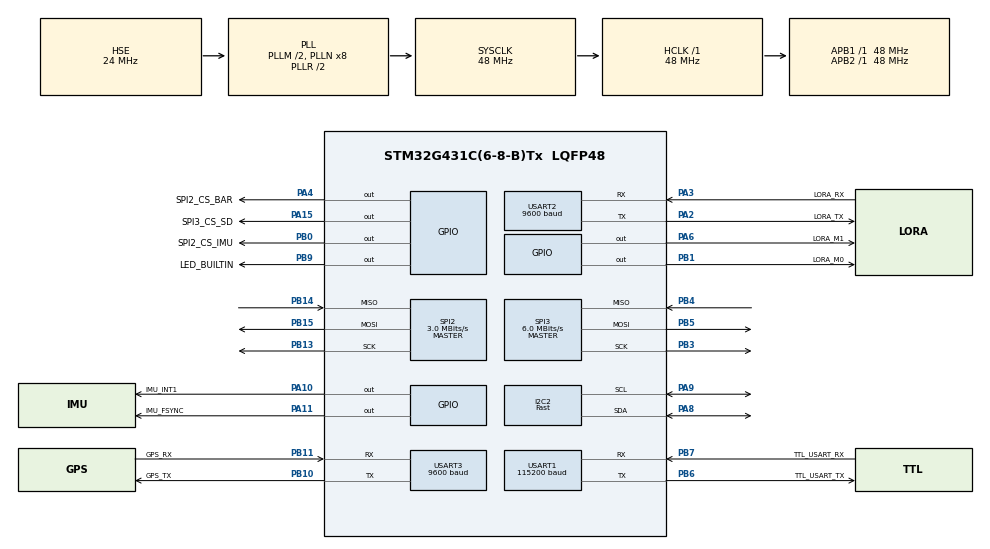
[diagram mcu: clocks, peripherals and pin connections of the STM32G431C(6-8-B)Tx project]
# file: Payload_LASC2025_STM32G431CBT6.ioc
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Dma.Request0=USART2_TX
Dma.Request1=USART2_RX
Dma.Request2=USART3_RX
Dma.USART2_RX.1.Direction=DMA_PERIPH_TO_MEMORY
Dma.USART2_RX.1.EventEnable=DISABLE
Dma.USART2_RX.1.Instance=DMA1_Channel6
Dma.USART2_RX.1.MemDataAlignment=DMA_MDATAALIGN_BYTE
Dma.USART2_RX.1.MemInc=DMA_MINC_ENABLE
Dma.USART2_RX.1.Mode=DMA_CIRCULAR
Dma.USART2_RX.1.PeriphDataAlignment=DMA_PDATAALIGN_BYTE
Dma.USART2_RX.1.PeriphInc=DMA_PINC_DISABLE
Dma.USART2_RX.1.Polarity=HAL_DMAMUX_REQ_GEN_RISING
Dma.USART2_RX.1.Priority=DMA_PRIORITY_MEDIUM
Dma.USART2_RX.1.RequestNumber=1
Dma.USART2_RX.1.SignalID=NONE
Dma.USART2_RX.1.SyncEnable=DISABLE
Dma.USART2_RX.1.SyncPolarity=HAL_DMAMUX_SYNC_NO_EVENT
Dma.USART2_RX.1.SyncRequestNumber=1
Dma.USART2_RX.1.SyncSignalID=NONE
Dma.USART2_TX.0.Direction=DMA_MEMORY_TO_PERIPH
Dma.USART2_TX.0.EventEnable=DISABLE
Dma.USART2_TX.0.Instance=DMA1_Channel5
Dma.USART2_TX.0.MemDataAlignment=DMA_MDATAALIGN_BYTE
Dma.USART2_TX.0.MemInc=DMA_MINC_ENABLE
Dma.USART2_TX.0.Mode=DMA_NORMAL
Dma.USART2_TX.0.PeriphDataAlignment=DMA_PDATAALIGN_BYTE
Dma.USART2_TX.0.PeriphInc=DMA_PINC_DISABLE
Dma.USART2_TX.0.Polarity=HAL_DMAMUX_REQ_GEN_RISING
Dma.USART2_TX.0.Priority=DMA_PRIORITY_HIGH
Dma.USART2_TX.0.RequestNumber=1
Dma.USART2_TX.0.SignalID=NONE
Dma.USART2_TX.0.SyncEnable=DISABLE
Dma.USART2_TX.0.SyncPolarity=HAL_DMAMUX_SYNC_NO_EVENT
Dma.USART2_TX.0.SyncRequestNumber=1
Dma.USART2_TX.0.SyncSignalID=NONE
Dma.USART3_RX.2.Direction=DMA_PERIPH_TO_MEMORY
Dma.USART3_RX.2.EventEnable=DISABLE
Dma.USART3_RX.2.Instance=DMA1_Channel1
Dma.USART3_RX.2.MemDataAlignment=DMA_MDATAALIGN_BYTE
Dma.USART3_RX.2.MemInc=DMA_MINC_ENABLE
Dma.USART3_RX.2.Mode=DMA_CIRCULAR
Dma.USART3_RX.2.PeriphDataAlignment=DMA_PDATAALIGN_BYTE
Dma.USART3_RX.2.PeriphInc=DMA_PINC_DISABLE
Dma.USART3_RX.2.Polarity=HAL_DMAMUX_REQ_GEN_RISING
Dma.USART3_RX.2.Priority=DMA_PRIORITY_HIGH
Dma.USART3_RX.2.RequestNumber=1
Dma.USART3_RX.2.SignalID=NONE
Dma.USART3_RX.2.SyncEnable=DISABLE
Dma.USART3_RX.2.SyncPolarity=HAL_DMAMUX_SYNC_NO_EVENT
Dma.USART3_RX.2.SyncRequestNumber=1
Dma.USART3_RX.2.SyncSignalID=NONE
FATFS._MAX_SS=4096
FATFS._USE_LFN=1
I2C2.I2C_Speed_Mode=I2C_Fast
I2C2.Timing=0x0090194B
Mcu.Family=STM32G4
Mcu.Name=STM32G431C(6-8-B)Tx
Mcu.Package=LQFP48
NVIC.DMA1_Channel1_IRQn=true\:0\:0\:false\:false\:true\:false\:true\:true
NVIC.DMA1_Channel5_IRQn=true\:0\:0\:false\:false\:true\:false\:true\:true
NVIC.DMA1_Channel6_IRQn=true\:0\:0\:false\:false\:true\:false\:true\:true
NVIC.PriorityGroup=NVIC_PRIORITYGROUP_4
NVIC.USART2_IRQn=true\:0\:0\:false\:false\:true\:true\:true\:true
NVIC.USART3_IRQn=true\:0\:0\:true\:false\:true\:true\:true\:true
PA10.GPIO_Label=IMU_INT1
PA10.Signal=GPIO_Output
PA11.GPIO_Label=IMU_FSYNC
PA11.Signal=GPIO_Output
PA13.Mode=Serial_Wire
PA13.Signal=SYS_JTMS-SWDIO
PA14.Mode=Serial_Wire
PA14.Signal=SYS_JTCK-SWCLK
PA15.GPIO_Label=SPI3_CS_SD
PA15.Signal=GPIO_Output
PA2.GPIO_Label=LORA_TX
PA2.Mode=Asynchronous
PA2.Signal=USART2_TX
PA3.GPIO_Label=LORA_RX
PA3.Mode=Asynchronous
PA3.Signal=USART2_RX
PA4.GPIO_Label=SPI2_CS_BAR
PA4.Signal=GPIO_Output
PA6.GPIO_Label=LORA_M1
PA6.Signal=GPIO_Output
PA8.Mode=I2C
PA8.Signal=I2C2_SDA
PA9.Mode=I2C
PA9.Signal=I2C2_SCL
PB0.GPIO_Label=SPI2_CS_IMU
PB0.Signal=GPIO_Output
PB1.GPIO_Label=LORA_M0
PB1.Signal=GPIO_Output
PB10.GPIO_Label=GPS_TX
PB10.GPIO_ModeDefaultPP=GPIO_MODE_AF_PP
PB10.GPIO_PuPd=GPIO_NOPULL
PB10.GPIO_Speed=GPIO_SPEED_FREQ_LOW
PB10.Mode=Asynchronous
PB10.Signal=USART3_TX
PB11.GPIO_Label=GPS_RX
PB11.GPIO_ModeDefaultPP=GPIO_MODE_AF_PP
PB11.GPIO_PuPd=GPIO_NOPULL
PB11.GPIO_Speed=GPIO_SPEED_FREQ_LOW
PB11.Mode=Asynchronous
PB11.Signal=USART3_RX
PB13.Mode=Full_Duplex_Master
PB13.Signal=SPI2_SCK
PB14.Mode=Full_Duplex_Master
PB14.Signal=SPI2_MISO
PB15.Mode=Full_Duplex_Master
PB15.Signal=SPI2_MOSI
PB3.Mode=Full_Duplex_Master
PB3.Signal=SPI3_SCK
PB4.Mode=Full_Duplex_Master
PB4.Signal=SPI3_MISO
PB5.Mode=Full_Duplex_Master
PB5.Signal=SPI3_MOSI
PB6.GPIO_Label=TTL_USART_TX
PB6.Mode=Asynchronous
PB6.Signal=USART1_TX
PB7.GPIO_Label=TTL_USART_RX
PB7.Mode=Asynchronous
PB7.Signal=USART1_RX
PB8-BOOT0.GPIO_Label=BOOT0
PB8-BOOT0.Signal=EVENTOUT
PB9.GPIO_Label=LED_BUILTIN
PB9.Signal=GPIO_Output
PF0-OSC_IN.Mode=HSE-External-Oscillator
PF0-OSC_IN.Signal=RCC_OSC_IN
PF1-OSC_OUT.Mode=HSE-External-Oscillator
PF1-OSC_OUT.Signal=RCC_OSC_OUT
PG10-NRST.GPIO_Label=NRST
PG10-NRST.Signal=EVENTOUT
ProjectManager.HeapSize=0x800
ProjectManager.StackSize=0x800
ProjectManager.TargetToolchain=STM32CubeIDE
RCC.ADC12Freq_Value=48000000
RCC.AHBFreq_Value=48000000
RCC.APB1Freq_Value=48000000
RCC.APB1TimFreq_Value=48000000
RCC.APB2Freq_Value=48000000
RCC.APB2TimFreq_Value=48000000
RCC.CortexFreq_Value=48000000
RCC.EXTERNAL_CLOCK_VALUE=12288000
RCC.HCLKFreq_Value=48000000
RCC.HSE_VALUE=24000000
RCC.HSI48_VALUE=48000000
RCC.HSI_VALUE=16000000
RCC.LSE_VALUE=32768
RCC.PLLM=RCC_PLLM_DIV2
RCC.PLLSourceVirtual=RCC_PLLSOURCE_HSE
RCC.SYSCLKFreq_VALUE=48000000
RCC.SYSCLKSource=RCC_SYSCLKSOURCE_PLLCLK
RCC.USBFreq_Value=48000000
RCC.VCOOutputFreq_Value=96000000
SPI2.BaudRatePrescaler=SPI_BAUDRATEPRESCALER_16
SPI2.CLKPhase=SPI_PHASE_2EDGE
SPI2.CLKPolarity=SPI_POLARITY_HIGH
SPI2.CalculateBaudRate=3.0 MBits/s
SPI2.DataSize=SPI_DATASIZE_8BIT
SPI2.Direction=SPI_DIRECTION_2LINES
SPI2.Mode=SPI_MODE_MASTER
SPI2.VirtualType=VM_MASTER
SPI3.BaudRatePrescaler=SPI_BAUDRATEPRESCALER_8
SPI3.CalculateBaudRate=6.0 MBits/s
SPI3.DataSize=SPI_DATASIZE_8BIT
SPI3.Direction=SPI_DIRECTION_2LINES
SPI3.Mode=SPI_MODE_MASTER
SPI3.NSSPMode=SPI_NSS_PULSE_DISABLE
SPI3.VirtualType=VM_MASTER
USART1.BaudRate=115200
USART1.VirtualMode-Asynchronous=VM_ASYNC
USART2.BaudRate=9600
USART2.ClockPrescaler=PRESCALER_DIV1
USART2.FIFOMode=FIFOMODE_ENABLE
USART2.OverSampling=UART_OVERSAMPLING_16
USART2.VirtualMode-Asynchronous=VM_ASYNC
USART3.BaudRate=9600
USART3.FIFOMode=FIFOMODE_ENABLE
USART3.OverSampling=UART_OVERSAMPLING_16
USART3.VirtualMode-Asynchronous=VM_ASYNC
VP_FATFS_VS_Generic.Mode=User_defined
VP_SYS_VS_DBSignals.Mode=DisableDeadBatterySignals
board=custom

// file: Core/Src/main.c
/* USER CODE BEGIN Header */
/**
  ******************************************************************************
  * @file           : main.c
  * @brief          : STM32G4 LoRa Transmitter - Corrigido DMA RX
  ******************************************************************************
  */
/* USER CODE END Header */
#include "main.h"
#include "app_fatfs.h"

/* USER CODE BEGIN Includes */
#include "IMU.h"
#include "SD.h"
#include "GNSS.h"
#include "BAR.h"
#include "IMU.h"
#include "e22900t22d.h"
#include "LORA.h"

#include "ROCKET.h"
#include "ROCKET_FSM.h"

/* USER CODE END Includes */

/* USER CODE BEGIN PD */

// Buffers para recepção com IDLE detection

// Contador de transmissões
int transmissionCounter = 0;

/* USER CODE END PD */

I2C_HandleTypeDef hi2c2;

SPI_HandleTypeDef hspi2;
SPI_HandleTypeDef hspi3;

UART_HandleTypeDef huart1;
UART_HandleTypeDef huart2;
UART_HandleTypeDef huart3;
DMA_HandleTypeDef hdma_usart2_tx;
DMA_HandleTypeDef hdma_usart2_rx;
DMA_HandleTypeDef hdma_usart3_rx;

/* USER CODE BEGIN PV */

GNSS gnss;
SD sd;
LORA lora;
BAR bar;
IMU imu;
IMU_Fusion fusion;
ROCKET_System_t rocket;
ROCKET_FSM_t fsm;

/* USER CODE END PV */

void SystemClock_Config(void);
static void MX_GPIO_Init(void);
static void MX_DMA_Init(void);
static void MX_I2C2_Init(void);
static void MX_SPI2_Init(void);
static void MX_SPI3_Init(void);
static void MX_USART1_UART_Init(void);
static void MX_USART3_UART_Init(void);
static void MX_USART2_UART_Init(void);

/* USER CODE BEGIN 0 */
#ifdef __GNUC__
#define PUTCHAR_PROTOTYPE int __io_putchar(int ch)
#else
#define PUTCHAR_PROTOTYPE int fputc(int ch, FILE *f)
#endif

PUTCHAR_PROTOTYPE
{
  HAL_UART_Transmit(&huart1, (uint8_t *)&ch, 1, 0xFFFF);
  return ch;
}

int _write(int fd, char * ptr, int len)
{
	int DataIdx;
	for (DataIdx = 0; DataIdx < len; DataIdx++)
	{
		__io_putchar(*ptr++);
	}
	return len;
}

/* ========================================================================
 * SEQUÊNCIA PRÉ-VOO
 * ======================================================================== */

void TEST_SDWriteSpeed_Detailed(void) {
    printf("\r\n=== TESTE DETALHADO DE VELOCIDADE ===\r\n");

    if (SD_OpenFile(&sd, "speed.txt", SD_MODE_OVERWRITE) != HAL_OK) {
        printf("[ERRO] Falha ao abrir arquivo\r\n");
        return;
    }

    // Teste 1: Write sem sync
    uint32_t start = HAL_GetTick();
    for (int i = 0; i < 100; i++) {
        char line[256];
        snprintf(line, sizeof(line), "%d,test,data,line,with,many,fields\r\n", i);
        f_puts(line, &sd.file);  // Sem sync
    }
    uint32_t write_time = HAL_GetTick() - start;

    // Teste 2: Sync
    start = HAL_GetTick();
    f_sync(&sd.file);
    uint32_t sync_time = HAL_GetTick() - start;

    SD_CloseFile(&sd);

    printf("Resultados:\r\n");
    printf("- 100 writes: %lu ms (%.1f ms/linha)\r\n", write_time, write_time/100.0f);
    printf("- 1 sync: %lu ms\r\n", sync_time);
    printf("- Total: %lu ms\r\n", write_time + sync_time);

    if (write_time / 100.0f > 5.0f) {
        printf("\r\n[CRÍTICO] SD MUITO LENTO!\r\n");
        printf("Soluções:\r\n");
        printf("1. Reformate o SD (FAT32, cluster 4KB)\r\n");
        printf("2. Use SD Classe 10 ou superior\r\n");
        printf("3. Aumente FLIGHT_BUFFER_SIZE para 100+\r\n");
    }
}

void ROCKET_EmergencyMode()
{
    printf("\r\n[EMERGÊNCIA] Sistema em modo seguro\r\n");

    while(1) {
        // Pisca LED de erro
        HAL_GPIO_TogglePin(LED_BUILTIN_GPIO_Port, LED_BUILTIN_Pin);

        // Tenta transmitir status de erro
        printf("ERROR: System failure");

        HAL_Delay(500);
    }
}

void ROCKET_PreFlightSequence(void)
{
    printf("\r\n");
    printf("╔════════════════════════════════════════════╗\r\n");
    printf("║    SISTEMA DE TELEMETRIA SRAD v2.0         ║\r\n");
    printf("║    Foguete: 500m Apogeu                    ║\r\n");
    printf("╚════════════════════════════════════════════╝\r\n");
    printf("\r\n");

    // 1. Verifica periféricos críticos
    printf("[1/6] Verificando periféricos...\r\n");
    if (!rocket.status.lora_initialized) {
        printf("[ERRO] LoRa não inicializado!\r\n");
        ROCKET_EmergencyMode();
    }
    if (!rocket.status.imu_initialized) {
        printf("[ERRO] IMU não inicializado!\r\n");
        ROCKET_EmergencyMode();
    }
    printf("[OK] Periféricos OK\r\n");

    // 2. Aguarda GPS fix
    printf("[2/6] Aguardando GPS fix...\r\n");
    uint32_t gps_timeout = HAL_GetTick() + 10000; // 1 minuto
    while (!rocket.gnss->is_fixed && HAL_GetTick() < gps_timeout) {
        ROCKET_Manager(&rocket);
        HAL_Delay(100);

        if ((HAL_GetTick() % 5000) == 0) {
            printf("    Satélites: %d, Status: %c\r\n",
                   rocket.gnss->satelites_usados, rocket.gnss->status);
        }
    }

    if (!rocket.gnss->is_fixed) {
        printf("[AVISO] GPS sem fix - continuando sem GPS\r\n");
    } else {
        printf("[OK] GPS Fix obtido!\r\n");
    }

    // 3. Calibração automática
    printf("[3/6] Calibrando sensores na rampa...\r\n");
    printf("    MANTENHA O FOGUETE IMÓVEL!\r\n");

    for (int i = 5; i > 0; i--) {
        printf("    %d...\r\n", i);
        HAL_Delay(1000);
    }

    ROCKET_CalibrateIMU(&rocket, 200);

    // Calibra barômetro
    float baro_sum = 0;
    for (int i = 0; i < 50; i++) {
        BAR_Update(&bar);
        baro_sum += bar.altitude_m;
        HAL_Delay(20);
    }
    bar.altitude_inicial = baro_sum / 50.0f;
    bar.has_initial_alt = 1;

    printf("[OK] Calibração concluída\r\n");
    printf("    Altitude Base: %.1f m\r\n", bar.altitude_inicial);

    // 4. Inicializa EKF com estado zero
    printf("[4/6] Inicializando EKF...\r\n");
    rocket.ekf.x[0] = 0;
    rocket.ekf.x[1] = 0;
    rocket.ekf.x[2] = 0;
    for(int i = 0; i < 3; i++) {
        rocket.ekf.P[i][i] = 100.0f;
        rocket.ekf.P[i+3][i+3] = 10.0f;
    }
    rocket.status.ekf_initialized = 1;
    printf("[OK] EKF pronto\r\n");

    // 5. Configura FSM para perfil de voo
    printf("[5/6] Configurando perfil de voo...\r\n");
    ROCKET_FSM_ConfigureForProfile(&fsm, 1.54f, 500.0f, 10.0f);
    printf("[OK] Perfil carregado\r\n");

    // 6. Cria arquivo de log
    printf("[6/6] Criando arquivo de log...\r\n");
    if (ROCKET_Logger_CreateFile(&rocket, "flight_log.csv") == HAL_OK) {
        printf("[OK] Arquivo de log criado\r\n");
    } else {
        printf("[AVISO] Falha ao criar arquivo - continuando sem gravação\r\n");
    }

    printf("\r\n");
    printf("╔════════════════════════════════════════════╗\r\n");
    printf("║           SISTEMA PRONTO PARA VOO          ║\r\n");
    printf("║                                            ║\r\n");
    printf("║   			BON VOYANGE :D    		   	 ║\r\n");
    printf("╚════════════════════════════════════════════╝\r\n");
    printf("\r\n");
}
/* USER CODE END 0 */

int main(void)
{

  /* MCU Configuration--------------------------------------------------------*/

  /* Reset of all peripherals, Initializes the Flash interface and the Systick. */
  HAL_Init();

  /* USER CODE BEGIN Init */
  // Antes de MX_USART2_UART_Init()
  __HAL_RCC_DMA1_CLK_ENABLE();
  __HAL_RCC_DMAMUX1_CLK_ENABLE();

  /* USER CODE END Init */

  /* Configure the system clock */
  SystemClock_Config();

  /* Initialize all configured peripherals */
  MX_GPIO_Init();
  MX_DMA_Init();
  MX_I2C2_Init();
  MX_SPI2_Init();
  MX_SPI3_Init();
  MX_USART1_UART_Init();
  MX_USART3_UART_Init();
  if (MX_FATFS_Init() != APP_OK) {
    Error_Handler();
  }
  MX_USART2_UART_Init();
  /* USER CODE BEGIN 2 */
  HAL_GPIO_WritePin(SPI2_CS_BAR_GPIO_Port, SPI2_CS_BAR_Pin, SET);

  // Inicializa subsistemas
  ROCKET_Init(&rocket, &gnss, &sd, &lora, &bar, &imu, &fusion, &fsm);
  ROCKET_FSM_Init(&fsm);

  if (ROCKET_BeginPeripherals(&rocket,
                              &huart2, &huart3, &hi2c2, &hspi2,
                              LORA_M0_GPIO_Port, LORA_M0_Pin,
                              LORA_M1_GPIO_Port, LORA_M1_Pin,
                              SPI2_CS_IMU_GPIO_Port, SPI2_CS_IMU_Pin) != HAL_OK) {
      Error_Handler();
  }

  // Configura LoRa
  LORA_SetAddress(&lora, LORA_ADDRESS_STM32G4, LORA_ADDRESS_ESP32);
  LORA_SetChannel(&lora, LORA_CHANNEL);

  // Habilita interrupção IDLE do GNSS
  __HAL_UART_ENABLE_IT(&huart3, UART_IT_IDLE);

//  // Cria arquivos de log
//  ROCKET_CreateLogFile(&rocket, "telemetry.csv");
//  ROCKET_CreateLogFile(&rocket, "flight_buffer.csv");

//  // Coordenadas do local atual
//  double last_lat = -18.9186;
//  double last_lon = -48.2772;
//  float last_alt = 850.0;
//
//  // Data/hora atual (ajuste conforme RTC ou manualmente)
//  uint16_t last_year = 2025;
//  uint8_t last_month = 10;
//  uint8_t last_day = 22;
//  uint8_t last_hour = 11;  // UTC (Brasília é UTC-3)
//  uint8_t last_min = 25;
//  uint8_t last_sec = 0;
//
//  printf("\r\n[INFO] Injetando dados de auxilio no GPS...\r\n");
//  if (ROCKET_InjectGPSAidData(&rocket, last_lat, last_lon, last_alt,
//                              last_year, last_month, last_day,
//                              last_hour, last_min, last_sec) == HAL_OK) {
//      printf("[OK] GPS configurado para Hot Start\r\n");
//      printf("[INFO] Aguardando fix GPS (esperado: 1-5s)...\r\n");
//  } else {
//      printf("[AVISO] Falha ao injetar dados - GPS usara Cold Start\r\n");
//  }

  // SEQUÊNCIA PRÉ-VOO
  ROCKET_PreFlightSequence();

  ROCKET_FSM_SetState(&fsm, FLIGHT_ARMED);
  printf("[ARMED] Sistema armado - aguardando liftoff\r\n");

/*
   // Calibração do magnetômetro
   printf("\r\n=== CALIBRACAO DO MAGNETOMETRO ===\r\n");
   for(int c = 20; c !=0; c--){
	   ROCKET_Manager(&rocket);
   }

   if (ROCKET_CollectMagCalibrationData(&rocket, 120000) == HAL_OK) { // 2 minutos
       printf("[OK] Dados coletados!\r\n");
       printf("Remova o SD e execute MagCalibration.m no MATLAB\r\n");
       while(1); // Para para remover SD
   }

   //Após calibrado, altere os valores em ROCKET.c -> ROCKET_BeginPeripherals()
*/

  /* USER CODE END 2 */

  /* Infinite loop */
  /* USER CODE BEGIN WHILE */
  uint32_t last_print = 0;
  uint32_t last_stats = 0;

  //TEST_SDWriteSpeed_Detailed();

  while (1)
  {
	  ROCKET_SetTransmissionInterval(&rocket, 500);

      // MANAGER PRINCIPAL
      ROCKET_Manager(&rocket);

      // ATUALIZA MÁQUINA DE ESTADOS
      ROCKET_FSM_Update(&fsm, &rocket);

      // AÇÕES ESPECÍFICAS POR ESTADO
      switch(fsm.current_state) {

          case FLIGHT_ARMED:
              // Apenas aguarda detecção de liftoff
              break;

          case FLIGHT_BOOST:
          case FLIGHT_COAST:
               // VOO CRÍTICO - dados sendo gravados automaticamente no Manager
               // Flush forçado a cada 100ms (definido no Manager)

          case FLIGHT_APOGEE:
              // ACIONA PARAQUEDAS AQUI!
              printf("[DEPLOY] *** EJETANDO PARAQUEDAS ***\r\n");

              // Flush imediato antes de acionar paraquedas
              ROCKET_Logger_ForceFlush(&rocket);
              // TODO: Adicionar código do skib
              break;

          case FLIGHT_DROGUE_DESCENT:
        	  break;

          case FLIGHT_MAIN_DESCENT:
        	  // Monitora descida - dados continuam sendo gravados
              break;

          case FLIGHT_LANDED:
              // Flush final e fecha arquivo
              static uint8_t landing_processed = 0;
              if (!landing_processed) {
                  printf("[LANDED] Processando dados finais...\r\n");

                  ROCKET_Logger_ForceFlush(&rocket);
                  ROCKET_FSM_SaveFlightSummary(&fsm, &sd);

                  // Mantém arquivo aberto para continuar gravando telemetria com taxa reduzida

                  landing_processed = 1;
              }
              break;

          default:
              break;
      }

      // STATUS PERIÓDICO
      if ((HAL_GetTick() - last_print) >= 2000) {
          printf("\r\n[%s] T+%.2fs | Alt: %.1f/%.1f m | Vel: %.1f m/s | G: %.2fg\r\n",
                 ROCKET_FSM_GetStateName(fsm.current_state),
                 ROCKET_FSM_GetStateTime(&fsm),
                 rocket.bar->altitude_m,
                 fsm.stats.max_altitude,
                 -rocket.state.vel[2],
                 fsm.stats.max_gforce);

          	  	 //*************************printf(gnss.rx_buffer);

          // Estatísticas em voo
          if (ROCKET_FSM_IsFlying(&fsm)) {
              printf("    GPS: %s (%d sats) | IMU: %s | EKF: %s\r\n",
                     rocket.gnss->is_fixed ? "OK" : "NO",
                     rocket.gnss->satelites_usados,
                     rocket.imu->is_valid ? "OK" : "NO",
                     rocket.status.ekf_initialized ? "OK" : "NO");

              // Buffer status
              printf("    Buffer: %d/%d | Gravadas: %lu | Perdidas: %lu\r\n",
                     rocket.logger.buffer.count,
                     FLIGHT_BUFFER_SIZE,
                     rocket.logger.samples_written,
                     rocket.logger.buffer.lost_samples);
          }

          // Status da transmissão
          if(rocket.lora->tx_in_progress) {
              printf("    [TX] Transmissão em andamento...\r\n");
          }

          ROCKET_PrintState(&rocket);

          last_print = HAL_GetTick();
      }

      // Estatísticas detalhadas a cada 10 segundos
      if ((HAL_GetTick() - last_stats) >= 10000) {
          if (ROCKET_FSM_IsFlying(&fsm)) {
              ROCKET_Logger_PrintStats(&rocket);
          }
          last_stats = HAL_GetTick();
      }

    /* USER CODE END WHILE */

  }
}

void SystemClock_Config(void)
{
  RCC_OscInitTypeDef RCC_OscInitStruct = {0};
  RCC_ClkInitTypeDef RCC_ClkInitStruct = {0};

  /** Configure the main internal regulator output voltage
  */
  HAL_PWREx_ControlVoltageScaling(PWR_REGULATOR_VOLTAGE_SCALE1);

  /** Initializes the RCC Oscillators according to the specified parameters
  * in the RCC_OscInitTypeDef structure.
  */
  RCC_OscInitStruct.OscillatorType = RCC_OSCILLATORTYPE_HSE;
  RCC_OscInitStruct.HSEState = RCC_HSE_ON;
  RCC_OscInitStruct.PLL.PLLState = RCC_PLL_ON;
  RCC_OscInitStruct.PLL.PLLSource = RCC_PLLSOURCE_HSE;
  RCC_OscInitStruct.PLL.PLLM = RCC_PLLM_DIV2;
  RCC_OscInitStruct.PLL.PLLN = 8;
  RCC_OscInitStruct.PLL.PLLP = RCC_PLLP_DIV2;
  RCC_OscInitStruct.PLL.PLLQ = RCC_PLLQ_DIV2;
  RCC_OscInitStruct.PLL.PLLR = RCC_PLLR_DIV2;
  if (HAL_RCC_OscConfig(&RCC_OscInitStruct) != HAL_OK)
  {
    Error_Handler();
  }

  /** Initializes the CPU, AHB and APB buses clocks
  */
  RCC_ClkInitStruct.ClockType = RCC_CLOCKTYPE_HCLK|RCC_CLOCKTYPE_SYSCLK
                              |RCC_CLOCKTYPE_PCLK1|RCC_CLOCKTYPE_PCLK2;
  RCC_ClkInitStruct.SYSCLKSource = RCC_SYSCLKSOURCE_PLLCLK;
  RCC_ClkInitStruct.AHBCLKDivider = RCC_SYSCLK_DIV1;
  RCC_ClkInitStruct.APB1CLKDivider = RCC_HCLK_DIV1;
  RCC_ClkInitStruct.APB2CLKDivider = RCC_HCLK_DIV1;

  if (HAL_RCC_ClockConfig(&RCC_ClkInitStruct, FLASH_LATENCY_1) != HAL_OK)
  {
    Error_Handler();
  }
}

static void MX_I2C2_Init(void)
{

  hi2c2.Instance = I2C2;
  hi2c2.Init.Timing = 0x0090194B;
  hi2c2.Init.OwnAddress1 = 0;
  hi2c2.Init.AddressingMode = I2C_ADDRESSINGMODE_7BIT;
  hi2c2.Init.DualAddressMode = I2C_DUALADDRESS_DISABLE;
  hi2c2.Init.OwnAddress2 = 0;
  hi2c2.Init.OwnAddress2Masks = I2C_OA2_NOMASK;
  hi2c2.Init.GeneralCallMode = I2C_GENERALCALL_DISABLE;
  hi2c2.Init.NoStretchMode = I2C_NOSTRETCH_DISABLE;
  if (HAL_I2C_Init(&hi2c2) != HAL_OK)
  {
    Error_Handler();
  }

  /** Configure Analogue filter
  */
  if (HAL_I2CEx_ConfigAnalogFilter(&hi2c2, I2C_ANALOGFILTER_ENABLE) != HAL_OK)
  {
    Error_Handler();
  }

  /** Configure Digital filter
  */
  if (HAL_I2CEx_ConfigDigitalFilter(&hi2c2, 0) != HAL_OK)
  {
    Error_Handler();
  }

}

static void MX_SPI2_Init(void)
{

  /* SPI2 parameter configuration*/
  hspi2.Instance = SPI2;
  hspi2.Init.Mode = SPI_MODE_MASTER;
  hspi2.Init.Direction = SPI_DIRECTION_2LINES;
  hspi2.Init.DataSize = SPI_DATASIZE_8BIT;
  hspi2.Init.CLKPolarity = SPI_POLARITY_HIGH;
  hspi2.Init.CLKPhase = SPI_PHASE_2EDGE;
  hspi2.Init.NSS = SPI_NSS_SOFT;
  hspi2.Init.BaudRatePrescaler = SPI_BAUDRATEPRESCALER_16;
  hspi2.Init.FirstBit = SPI_FIRSTBIT_MSB;
  hspi2.Init.TIMode = SPI_TIMODE_DISABLE;
  hspi2.Init.CRCCalculation = SPI_CRCCALCULATION_DISABLE;
  hspi2.Init.CRCPolynomial = 7;
  hspi2.Init.CRCLength = SPI_CRC_LENGTH_DATASIZE;
  hspi2.Init.NSSPMode = SPI_NSS_PULSE_DISABLE;
  if (HAL_SPI_Init(&hspi2) != HAL_OK)
  {
    Error_Handler();
  }

}

static void MX_SPI3_Init(void)
{

  /* SPI3 parameter configuration*/
  hspi3.Instance = SPI3;
  hspi3.Init.Mode = SPI_MODE_MASTER;
  hspi3.Init.Direction = SPI_DIRECTION_2LINES;
  hspi3.Init.DataSize = SPI_DATASIZE_8BIT;
  hspi3.Init.CLKPolarity = SPI_POLARITY_LOW;
  hspi3.Init.CLKPhase = SPI_PHASE_1EDGE;
  hspi3.Init.NSS = SPI_NSS_SOFT;
  hspi3.Init.BaudRatePrescaler = SPI_BAUDRATEPRESCALER_8;
  hspi3.Init.FirstBit = SPI_FIRSTBIT_MSB;
  hspi3.Init.TIMode = SPI_TIMODE_DISABLE;
  hspi3.Init.CRCCalculation = SPI_CRCCALCULATION_DISABLE;
  hspi3.Init.CRCPolynomial = 7;
  hspi3.Init.CRCLength = SPI_CRC_LENGTH_DATASIZE;
  hspi3.Init.NSSPMode = SPI_NSS_PULSE_DISABLE;
  if (HAL_SPI_Init(&hspi3) != HAL_OK)
  {
    Error_Handler();
  }

}

static void MX_USART1_UART_Init(void)
{

  huart1.Instance = USART1;
  huart1.Init.BaudRate = 115200;
  huart1.Init.WordLength = UART_WORDLENGTH_8B;
  huart1.Init.StopBits = UART_STOPBITS_1;
  huart1.Init.Parity = UART_PARITY_NONE;
  huart1.Init.Mode = UART_MODE_TX_RX;
  huart1.Init.HwFlowCtl = UART_HWCONTROL_NONE;
  huart1.Init.OverSampling = UART_OVERSAMPLING_16;
  huart1.Init.OneBitSampling = UART_ONE_BIT_SAMPLE_DISABLE;
  huart1.Init.ClockPrescaler = UART_PRESCALER_DIV1;
  huart1.AdvancedInit.AdvFeatureInit = UART_ADVFEATURE_NO_INIT;
  if (HAL_UART_Init(&huart1) != HAL_OK)
  {
    Error_Handler();
  }
  if (HAL_UARTEx_SetTxFifoThreshold(&huart1, UART_TXFIFO_THRESHOLD_1_8) != HAL_OK)
  {
    Error_Handler();
  }
  if (HAL_UARTEx_SetRxFifoThreshold(&huart1, UART_RXFIFO_THRESHOLD_1_8) != HAL_OK)
  {
    Error_Handler();
  }
  if (HAL_UARTEx_DisableFifoMode(&huart1) != HAL_OK)
  {
    Error_Handler();
  }

}

static void MX_USART2_UART_Init(void)
{

  huart2.Instance = USART2;
  huart2.Init.BaudRate = 9600;
  huart2.Init.WordLength = UART_WORDLENGTH_8B;
  huart2.Init.StopBits = UART_STOPBITS_1;
  huart2.Init.Parity = UART_PARITY_NONE;
  huart2.Init.Mode = UART_MODE_TX_RX;
  huart2.Init.HwFlowCtl = UART_HWCONTROL_NONE;
  huart2.Init.OverSampling = UART_OVERSAMPLING_16;
  huart2.Init.OneBitSampling = UART_ONE_BIT_SAMPLE_DISABLE;
  huart2.Init.ClockPrescaler = UART_PRESCALER_DIV1;
  huart2.AdvancedInit.AdvFeatureInit = UART_ADVFEATURE_NO_INIT;
  if (HAL_UART_Init(&huart2) != HAL_OK)
  {
    Error_Handler();
  }
  if (HAL_UARTEx_SetTxFifoThreshold(&huart2, UART_TXFIFO_THRESHOLD_1_8) != HAL_OK)
  {
    Error_Handler();
  }
  if (HAL_UARTEx_SetRxFifoThreshold(&huart2, UART_RXFIFO_THRESHOLD_1_8) != HAL_OK)
  {
    Error_Handler();
  }
  if (HAL_UARTEx_EnableFifoMode(&huart2) != HAL_OK)
  {
    Error_Handler();
  }

}

static void MX_USART3_UART_Init(void)
{

  huart3.Instance = USART3;
  huart3.Init.BaudRate = 9600;
  huart3.Init.WordLength = UART_WORDLENGTH_8B;
  huart3.Init.StopBits = UART_STOPBITS_1;
  huart3.Init.Parity = UART_PARITY_NONE;
  huart3.Init.Mode = UART_MODE_TX_RX;
  huart3.Init.HwFlowCtl = UART_HWCONTROL_NONE;
  huart3.Init.OverSampling = UART_OVERSAMPLING_16;
  huart3.Init.OneBitSampling = UART_ONE_BIT_SAMPLE_DISABLE;
  huart3.Init.ClockPrescaler = UART_PRESCALER_DIV1;
  huart3.AdvancedInit.AdvFeatureInit = UART_ADVFEATURE_NO_INIT;
  if (HAL_UART_Init(&huart3) != HAL_OK)
  {
    Error_Handler();
  }
  if (HAL_UARTEx_SetTxFifoThreshold(&huart3, UART_TXFIFO_THRESHOLD_1_8) != HAL_OK)
  {
    Error_Handler();
  }
  if (HAL_UARTEx_SetRxFifoThreshold(&huart3, UART_RXFIFO_THRESHOLD_1_8) != HAL_OK)
  {
    Error_Handler();
  }
  if (HAL_UARTEx_EnableFifoMode(&huart3) != HAL_OK)
  {
    Error_Handler();
  }

}

static void MX_DMA_Init(void)
{

  /* DMA controller clock enable */
  __HAL_RCC_DMAMUX1_CLK_ENABLE();
  __HAL_RCC_DMA1_CLK_ENABLE();

  /* DMA interrupt init */
  /* DMA1_Channel1_IRQn interrupt configuration */
  HAL_NVIC_SetPriority(DMA1_Channel1_IRQn, 0, 0);
  HAL_NVIC_EnableIRQ(DMA1_Channel1_IRQn);
  /* DMA1_Channel5_IRQn interrupt configuration */
  HAL_NVIC_SetPriority(DMA1_Channel5_IRQn, 0, 1);
  HAL_NVIC_EnableIRQ(DMA1_Channel5_IRQn);
  /* DMA1_Channel6_IRQn interrupt configuration */
  HAL_NVIC_SetPriority(DMA1_Channel6_IRQn, 0, 2);
  HAL_NVIC_EnableIRQ(DMA1_Channel6_IRQn);

}

static void MX_GPIO_Init(void)
{
  GPIO_InitTypeDef GPIO_InitStruct = {0};

  /* GPIO Ports Clock Enable */
  __HAL_RCC_GPIOF_CLK_ENABLE();
  __HAL_RCC_GPIOG_CLK_ENABLE();
  __HAL_RCC_GPIOA_CLK_ENABLE();
  __HAL_RCC_GPIOB_CLK_ENABLE();

  /*Configure GPIO pin Output Level */
  HAL_GPIO_WritePin(GPIOA, SPI2_CS_BAR_Pin|LORA_M1_Pin|IMU_INT1_Pin|IMU_FSYNC_Pin
                          |SPI3_CS_SD_Pin, GPIO_PIN_RESET);

  /*Configure GPIO pin Output Level */
  HAL_GPIO_WritePin(GPIOB, SPI2_CS_IMU_Pin|LORA_M0_Pin|LED_BUILTIN_Pin, GPIO_PIN_RESET);

  /*Configure GPIO pin : NRST_Pin */
  GPIO_InitStruct.Pin = NRST_Pin;
  GPIO_InitStruct.Mode = GPIO_MODE_AF_PP;
  GPIO_InitStruct.Pull = GPIO_NOPULL;
  GPIO_InitStruct.Speed = GPIO_SPEED_FREQ_LOW;
  GPIO_InitStruct.Alternate = GPIO_AF15_EVENTOUT;
  HAL_GPIO_Init(NRST_GPIO_Port, &GPIO_InitStruct);

  /*Configure GPIO pins : SPI2_CS_BAR_Pin LORA_M1_Pin IMU_INT1_Pin IMU_FSYNC_Pin
                           SPI3_CS_SD_Pin */
  GPIO_InitStruct.Pin = SPI2_CS_BAR_Pin|LORA_M1_Pin|IMU_INT1_Pin|IMU_FSYNC_Pin
                          |SPI3_CS_SD_Pin;
  GPIO_InitStruct.Mode = GPIO_MODE_OUTPUT_PP;
  GPIO_InitStruct.Pull = GPIO_NOPULL;
  GPIO_InitStruct.Speed = GPIO_SPEED_FREQ_LOW;
  HAL_GPIO_Init(GPIOA, &GPIO_InitStruct);

  /*Configure GPIO pins : SPI2_CS_IMU_Pin LORA_M0_Pin LED_BUILTIN_Pin */
  GPIO_InitStruct.Pin = SPI2_CS_IMU_Pin|LORA_M0_Pin|LED_BUILTIN_Pin;
  GPIO_InitStruct.Mode = GPIO_MODE_OUTPUT_PP;
  GPIO_InitStruct.Pull = GPIO_NOPULL;
  GPIO_InitStruct.Speed = GPIO_SPEED_FREQ_LOW;
  HAL_GPIO_Init(GPIOB, &GPIO_InitStruct);

  /*Configure GPIO pin : BOOT0_Pin */
  GPIO_InitStruct.Pin = BOOT0_Pin;
  GPIO_InitStruct.Mode = GPIO_MODE_AF_PP;
  GPIO_InitStruct.Pull = GPIO_NOPULL;
  GPIO_InitStruct.Speed = GPIO_SPEED_FREQ_LOW;
  GPIO_InitStruct.Alternate = GPIO_AF15_EVENTOUT;
  HAL_GPIO_Init(BOOT0_GPIO_Port, &GPIO_InitStruct);

}

/* USER CODE BEGIN 4 */
void HAL_UART_TxCpltCallback(UART_HandleTypeDef *huart)
{
    if(huart->Instance == USART2) {
    	//printf("[DEBUG] TX Complete callback!\r\n");

        // ✅ Notifica a biblioteca E22 que está pronta
        e22_lora_make_ready();

        // ✅ Notifica o LORA que TX completou
        if(rocket.lora) {
            LORA_MakeReady(rocket.lora);
        }

        //HAL_GPIO_TogglePin(LED_BUILTIN_GPIO_Port, LED_BUILTIN_Pin);
    }
}

/* USER CODE END 4 */

void Error_Handler(void)
{
  __disable_irq();
  while (1)
  {
  }
}
